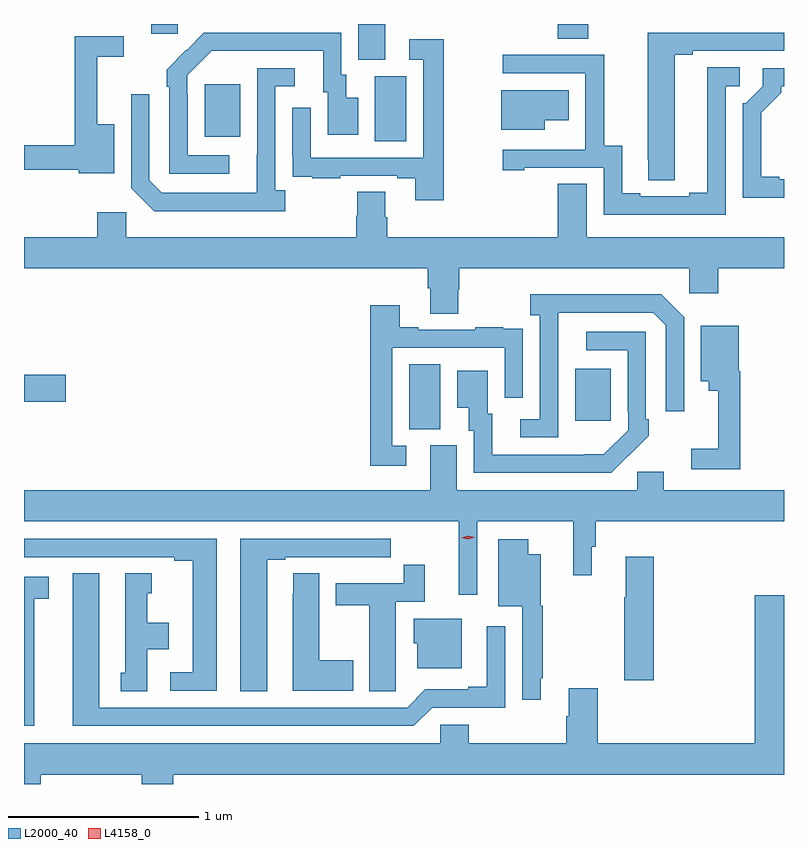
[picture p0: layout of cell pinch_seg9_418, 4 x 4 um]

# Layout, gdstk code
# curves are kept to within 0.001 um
import gdstk
lib = gdstk.Library(unit=1e-6, precision=1e-09)
def R(c, l, rs):  # rectangles x0, y0, x1, y1
    for r in rs: c.add(gdstk.rectangle(r[:2], r[2:], *l))
def P(c, l, *ps):  # polygons
    for p in ps: c.add(gdstk.Polygon(p, *l))
L2000_40 = (2000, 40)
L4158_0 = (4158, 0)

pinch_seg9_418 = lib.new_cell('pinch_seg9_418')
R(pinch_seg9_418, L2000_40, [(150.89,1230.205,151.054,1230.548), (151.763,1230.249,151.951,1230.523), (148.863,1230.349,149.083,1230.491), (150.71,1231.72,150.874,1232.064), (149.813,1231.745,150.001,1232.02), (150.623,1232.149,150.763,1232.338), (151.673,1232.26,151.833,1232.338), (149.534,1232.286,149.673,1232.338)])
P(pinch_seg9_418, L2000_40, [(152.287,1232.176),(152.383,1232.176),(152.383,1232.196),(152.863,1232.196),(152.863,1232.292),(152.147,1232.292),(152.147,1231.624),(152.148,1231.624),(152.148,1231.516),(152.287,1231.516)],
  [(149.944,1231.647),(149.724,1231.647),(149.724,1231.967),(149.721,1231.967),(149.721,1232.067),(149.85,1232.196),(150.437,1232.196),(150.437,1231.98),(150.461,1231.98),(150.461,1231.755),(150.622,1231.755),(150.622,1231.951),(150.559,1231.951),(150.559,1232.07),(150.534,1232.07),(150.534,1232.292),(149.81,1232.292),(149.613,1232.097),(149.613,1232.009),(149.628,1232.009),(149.628,1231.551),(149.944,1231.551)],
  [(149.338,1231.81),(149.249,1231.81),(149.249,1232.166),(149.389,1232.166),(149.389,1232.274),(149.131,1232.274),(149.131,1231.7),(148.863,1231.7),(148.863,1231.572),(149.15,1231.572),(149.15,1231.553),(149.338,1231.553)],
  [(151.072,1232.257),(150.891,1232.257),(150.891,1232.151),(150.963,1232.151),(150.963,1231.635),(150.372,1231.635),(150.372,1231.897),(150.276,1231.897),(150.276,1231.642),(150.277,1231.642),(150.277,1231.533),(150.379,1231.533),(150.379,1231.527),(150.527,1231.527),(150.527,1231.539),(150.827,1231.539),(150.827,1231.527),(150.923,1231.527),(150.923,1231.41),(151.072,1231.41)],
  [(152.556,1232.01),(152.629,1232.01),(152.629,1232.111),(152.459,1232.111),(152.459,1231.451),(152.363,1231.451),(152.363,1231.431),(152.107,1231.431),(152.107,1231.446),(152.011,1231.446),(152.011,1231.697),(151.917,1231.697),(151.917,1232.175),(151.383,1232.175),(151.383,1232.079),(151.818,1232.079),(151.818,1231.678),(151.817,1231.678),(151.817,1231.677),(151.383,1231.677),(151.383,1231.569),(151.495,1231.569),(151.495,1231.581),(151.914,1231.581),(151.914,1231.335),(152.556,1231.335)],
  [(150.238,1231.462),(150.186,1231.462),(150.186,1232.01),(150.289,1232.01),(150.289,1232.106),(150.09,1232.106),(150.089,1231.449),(149.589,1231.449),(149.523,1231.515),(149.523,1231.969),(149.427,1231.969),(149.427,1231.473),(149.548,1231.352),(150.238,1231.352)],
  [(152.863,1231.521),(152.839,1231.521),(152.839,1231.534),(152.743,1231.534),(152.743,1231.87),(152.848,1231.975),(152.848,1232.01),(152.863,1232.01),(152.863,1232.106),(152.751,1232.106),(152.751,1232.01),(152.661,1231.92),(152.646,1231.92),(152.646,1231.424),(152.863,1231.424)],
  [(151.603,1231.832),(151.729,1231.832),(151.729,1231.99),(151.376,1231.99),(151.376,1231.781),(151.603,1231.781)],
  [(151.149,1230.939),(151.154,1230.939),(151.154,1231.052),(152.364,1231.052),(152.364,1230.921),(152.516,1230.921),(152.516,1231.052),(152.863,1231.052),(152.863,1231.216),(151.825,1231.216),(151.825,1231.496),(151.673,1231.496),(151.673,1231.216),(150.776,1231.216),(150.776,1231.322),(150.763,1231.322),(150.763,1231.454),(150.616,1231.454),(150.616,1231.329),(150.611,1231.329),(150.611,1231.216),(149.4,1231.216),(149.4,1231.348),(149.249,1231.348),(149.249,1231.216),(148.863,1231.216),(148.863,1231.052),(150.989,1231.052),(150.989,1230.946),(151.001,1230.946),(151.001,1230.814),(151.149,1230.814)],
  [(151.674,1230.619),(151.675,1230.819),(152.175,1230.819),(152.241,1230.753),(152.241,1230.3),(152.337,1230.3),(152.337,1230.795),(152.216,1230.916),(151.527,1230.916),(151.527,1230.806),(151.578,1230.806),(151.578,1230.258),(151.476,1230.258),(151.476,1230.162),(151.674,1230.162)],
  [(150.874,1230.117),(150.801,1230.117),(150.801,1230.633),(151.392,1230.633),(151.392,1230.372),(151.488,1230.372),(151.488,1230.626),(151.487,1230.626),(151.487,1230.735),(151.385,1230.735),(151.385,1230.742),(151.237,1230.742),(151.237,1230.729),(150.937,1230.729),(150.937,1230.742),(150.841,1230.742),(150.841,1230.859),(150.685,1230.859),(150.685,1230.012),(150.874,1230.012)],
  [(152.633,1230.511),(152.626,1230.511),(152.626,1230.751),(152.426,1230.751),(152.426,1230.458),(152.468,1230.458),(152.468,1230.407),(152.516,1230.407),(152.516,1230.103),(152.376,1230.103),(152.376,1229.994),(152.633,1229.994)],
  [(152.045,1230.067),(152.046,1230.066),(152.151,1230.171),(152.151,1230.259),(152.136,1230.259),(152.136,1230.717),(151.821,1230.717),(151.821,1230.621),(152.04,1230.621),(152.04,1230.301),(152.043,1230.301),(152.043,1230.201),(151.915,1230.073),(151.327,1230.072),(151.327,1230.288),(151.303,1230.288),(151.303,1230.514),(151.142,1230.514),(151.142,1230.317),(151.205,1230.317),(151.205,1230.198),(151.23,1230.198),(151.23,1229.976),(151.954,1229.976)],
  [(151.248,1229.72),(151.753,1229.72),(151.753,1229.436),(151.852,1229.436),(151.852,1229.586),(151.871,1229.586),(151.871,1229.72),(152.863,1229.72),(152.863,1229.884),(152.23,1229.884),(152.23,1229.982),(152.091,1229.982),(152.091,1229.884),(151.141,1229.884),(151.141,1230.12),(151.001,1230.12),(151.001,1229.884),(148.863,1229.884),(148.863,1229.72),(151.151,1229.72),(151.151,1229.334),(151.248,1229.334)],
  [(150.142,1229.517),(150.238,1229.517),(150.238,1229.532),(150.514,1229.532),(150.514,1229.531),(150.68,1229.531),(150.68,1229.532),(150.793,1229.532),(150.793,1229.628),(150.002,1229.628),(150.002,1228.825),(150.142,1228.825)],
  [(149.878,1229.628),(148.863,1229.628),(148.863,1229.532),(149.654,1229.532),(149.654,1229.512),(149.75,1229.512),(149.75,1228.926),(149.634,1228.926),(149.634,1228.83),(149.878,1228.83)],
  [(151.582,1228.894),(151.594,1228.894),(151.594,1229.277),(151.582,1229.277),(151.582,1229.548),(151.516,1229.548),(151.516,1229.626),(151.358,1229.626),(151.358,1229.273),(151.485,1229.273),(151.485,1228.782),(151.582,1228.782)],
  [(152.177,1229.533),(152.03,1229.533),(152.03,1229.32),(152.023,1229.32),(152.023,1228.884),(152.177,1228.884)],
  [(150.819,1228.936),(150.82,1228.936),(150.82,1229.298),(150.971,1229.298),(150.971,1229.491),(150.862,1229.491),(150.862,1229.394),(150.503,1229.394),(150.503,1229.278),(150.68,1229.278),(150.68,1228.825),(150.819,1228.825)],
  [(150.595,1228.989),(150.418,1228.989),(150.418,1229.447),(150.279,1229.447),(150.279,1229.339),(150.278,1229.339),(150.278,1228.829),(150.595,1228.829)],
  [(149.512,1229.048),(149.626,1229.048),(149.626,1229.188),(149.512,1229.188),(149.512,1229.343),(149.536,1229.343),(149.536,1229.446),(149.396,1229.446),(149.396,1228.923),(149.372,1228.923),(149.372,1228.825),(149.512,1228.825)],
  [(151.011,1228.74),(151.395,1228.74),(151.395,1229.167),(151.298,1229.167),(151.298,1228.849),(151.202,1228.849),(151.202,1228.836),(150.975,1228.836),(150.879,1228.74),(149.26,1228.74),(149.26,1229.446),(149.12,1229.446),(149.12,1228.644),(150.915,1228.644)],
  [(148.918,1229.314),(148.993,1229.314),(148.993,1229.43),(148.863,1229.43),(148.863,1228.644),(148.918,1228.644)],
  [(148.952,1228.388),(149.483,1228.388),(149.483,1228.338),(149.648,1228.338),(149.648,1228.388),(152.863,1228.388),(152.863,1229.332),(152.708,1229.332),(152.708,1228.552),(151.883,1228.552),(151.883,1228.843),(151.73,1228.843),(151.73,1228.694),(151.718,1228.694),(151.718,1228.552),(151.205,1228.552),(151.205,1228.65),(151.053,1228.65),(151.053,1228.552),(148.863,1228.552),(148.863,1228.338),(148.952,1228.338)],
  [(151.168,1229.209),(150.914,1229.209),(150.914,1229.079),(150.932,1229.079),(150.932,1228.946),(151.168,1228.946)])
P(pinch_seg9_418, L4158_0, [(151.2,1229.625),(151.165,1229.634),(151.165,1229.634),(151.165,1229.634),(151.2,1229.645),(151.235,1229.636),(151.235,1229.636),(151.235,1229.636)])

lib.write_gds('pinch_seg9_418.gds')
